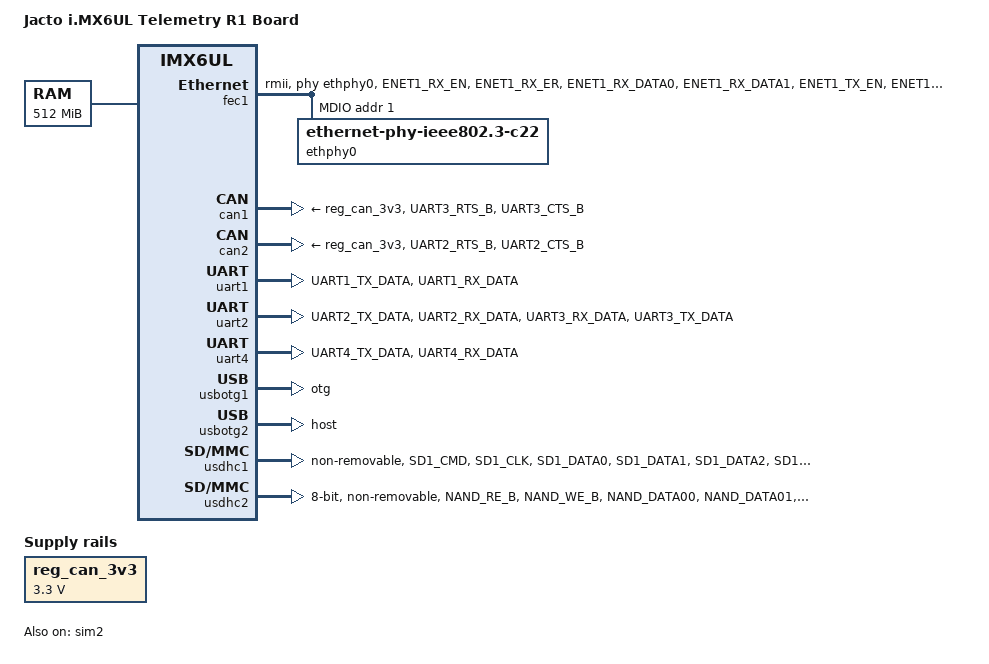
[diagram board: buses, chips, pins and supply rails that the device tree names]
// SPDX-License-Identifier: GPL-2.0
//
// Copyright (C) 2015 Freescale Semiconductor, Inc.

/dts-v1/;

#include "imx6ul.dtsi"

/ {

	model = "Jacto i.MX6UL Telemetry R1 Board";
	compatible = "jacto,imx6ul-telemetry-r1", "fsl,imx6ul";

	memory@80000000 {
		device_type = "memory";
		reg = <0x80000000 0x20000000>;
	};

	aliases {
		mmc0 = &usdhc2;
	};

	chosen {
		stdout-path = &uart1;
	};

	reg_can_3v3: regulator-can-3v3 {
		compatible = "regulator-fixed";
		regulator-name = "can-3v3";
		regulator-min-microvolt = <3300000>;
		regulator-max-microvolt = <3300000>;
	};
};

&fec1 {
	pinctrl-names = "default";
	pinctrl-0 = <&pinctrl_enet1>;
	phy-mode = "rmii";
	phy-handle = <&ethphy0>;
	phy-reset-gpios = <&gpio1 8 GPIO_ACTIVE_LOW>;
	phy-reset-duration = <20>;
	phy-reset-post-delay = <10>;
	status = "okay";

	mdio {
		#address-cells = <1>;
		#size-cells = <0>;

		ethphy0: ethernet-phy@1 {
			reg = <1>;
			compatible = "ethernet-phy-ieee802.3-c22";
		};
	};
};

&can1 {
	pinctrl-names = "default";
	pinctrl-0 = <&pinctrl_flexcan1>;
	xceiver-supply = <&reg_can_3v3>;
	status = "okay";
};

&can2 {
	pinctrl-names = "default";
	pinctrl-0 = <&pinctrl_flexcan2>;
	xceiver-supply = <&reg_can_3v3>;
	status = "okay";
};

&sim2 {
	pinctrl-names = "default";
	pinctrl-0 = <&pinctrl_sim2>;
	assigned-clocks = <&clks IMX6UL_CLK_SIM_SEL>;
	assigned-clock-parents = <&clks IMX6UL_CLK_SIM_PODF>;
	assigned-clock-rates = <240000000>;
	/*
	 * GPIO_ACTIVE_HIGH/LOW: SIM card voltage control
	 * NCN8025:Vcc = ACTIVE_HIGH?5V:3V
	 * TDA8035:Vcc = ACTIVE_HIGH?5V:1.8V
	 */
	pinctrl-assert-gpios = <&gpio4 23 GPIO_ACTIVE_HIGH>;
	port = <1>;
	sven_low_active;
	status = "okay";
};

&snvs_poweroff {
	status = "okay";
};

&uart1 {
	pinctrl-names = "default";
	pinctrl-0 = <&pinctrl_uart1>;
	status = "okay";
};

&uart2 {
	pinctrl-names = "default";
	pinctrl-0 = <&pinctrl_uart2>;
	uart-has-rtscts;
	status = "okay";
};

&uart4 {
	pinctrl-names = "default";
	pinctrl-0 = <&pinctrl_uart4>;
	status = "okay";
};

&usbotg1 {
	dr_mode = "otg";
	srp-disable;
	hnp-disable;
	adp-disable;
	status = "okay";
};

&usbotg2 {
	dr_mode = "host";
	disable-over-current;
	status = "okay";
};

&usbphy1 {
	fsl,tx-d-cal = <5>;
};

&usbphy2 {
	fsl,tx-d-cal = <5>;
};

&usdhc1 {
	pinctrl-names = "default", "state_100mhz", "state_200mhz";
	pinctrl-0 = <&pinctrl_usdhc1>;
	pinctrl-1 = <&pinctrl_usdhc1_100mhz>;
	pinctrl-2 = <&pinctrl_usdhc1_200mhz>;
	non-removable;
	keep-power-in-suspend;
	enable-sdio-wakeup;
	status = "okay";
};

&usdhc2 {
	pinctrl-names = "default";
	pinctrl-0 = <&pinctrl_usdhc2>;
	bus-width = <8>;
	no-1-8-v;
	keep-power-in-suspend;
	wakeup-source;
	non-removable;
	status = "okay";
};

&wdog1 {
	pinctrl-names = "default";
	pinctrl-0 = <&pinctrl_wdog>;
	fsl,ext-reset-output;
};

&iomuxc {
	pinctrl-names = "default";

	pinctrl_enet1: enet1grp {
		fsl,pins = <
			MX6UL_PAD_ENET1_RX_EN__ENET1_RX_EN	0x1b0b0
			MX6UL_PAD_ENET1_RX_ER__ENET1_RX_ER	0x1b0b0
			MX6UL_PAD_ENET1_RX_DATA0__ENET1_RDATA00	0x1b0b0
			MX6UL_PAD_ENET1_RX_DATA1__ENET1_RDATA01	0x1b0b0
			MX6UL_PAD_ENET1_TX_EN__ENET1_TX_EN	0x1b0b0
			MX6UL_PAD_ENET1_TX_DATA0__ENET1_TDATA00	0x1b0b0
			MX6UL_PAD_ENET1_TX_DATA1__ENET1_TDATA01	0x1b0b0
			MX6UL_PAD_ENET1_TX_CLK__ENET1_REF_CLK1	0x4001b031
			MX6UL_PAD_GPIO1_IO06__ENET1_MDIO        0x1b0b0
			MX6UL_PAD_GPIO1_IO07__ENET1_MDC         0x1b0b0
		>;
	};

	pinctrl_flexcan1: flexcan1grp{
		fsl,pins = <
			MX6UL_PAD_UART3_RTS_B__FLEXCAN1_RX	0x1b020
			MX6UL_PAD_UART3_CTS_B__FLEXCAN1_TX	0x1b020
		>;
	};

	pinctrl_flexcan2: flexcan2grp{
		fsl,pins = <
			MX6UL_PAD_UART2_RTS_B__FLEXCAN2_RX	0x1b020
			MX6UL_PAD_UART2_CTS_B__FLEXCAN2_TX	0x1b020
		>;
	};

	pinctrl_sim2: sim2grp {
		fsl,pins = <
			MX6UL_PAD_CSI_DATA03__SIM2_PORT1_PD	0xb808
			MX6UL_PAD_CSI_DATA04__SIM2_PORT1_CLK	0x11
			MX6UL_PAD_CSI_DATA05__SIM2_PORT1_RST_B	0xb810
			MX6UL_PAD_CSI_DATA06__SIM2_PORT1_SVEN	0xb810
			MX6UL_PAD_CSI_DATA07__SIM2_PORT1_TRXD	0xb811
			MX6UL_PAD_CSI_DATA02__GPIO4_IO23	0x3008
		>;
	};

	pinctrl_uart1: uart1grp {
		fsl,pins = <
			MX6UL_PAD_UART1_TX_DATA__UART1_DCE_TX	0x1b0b1
			MX6UL_PAD_UART1_RX_DATA__UART1_DCE_RX	0x1b0b1
		>;
	};

	pinctrl_uart2: uart2grp {
		fsl,pins = <
			MX6UL_PAD_UART2_TX_DATA__UART2_DCE_TX	0x1b0b1
			MX6UL_PAD_UART2_RX_DATA__UART2_DCE_RX	0x1b0b1
			MX6UL_PAD_UART3_RX_DATA__UART2_DCE_RTS	0x1b0b1
			MX6UL_PAD_UART3_TX_DATA__UART2_DCE_CTS	0x1b0b1
		>;
	};

	pinctrl_uart4: uart4grp {
		fsl,pins = <
			MX6UL_PAD_UART4_TX_DATA__UART4_DCE_TX	0x1b0b1
			MX6UL_PAD_UART4_RX_DATA__UART4_DCE_RX	0x1b0b1
		>;
	};

	pinctrl_usdhc1: usdhc1grp {
		fsl,pins = <
			MX6UL_PAD_SD1_CMD__USDHC1_CMD		0x17059
			MX6UL_PAD_SD1_CLK__USDHC1_CLK		0x10071
			MX6UL_PAD_SD1_DATA0__USDHC1_DATA0	0x17059
			MX6UL_PAD_SD1_DATA1__USDHC1_DATA1	0x17059
			MX6UL_PAD_SD1_DATA2__USDHC1_DATA2	0x17059
			MX6UL_PAD_SD1_DATA3__USDHC1_DATA3	0x17059
		>;
	};

	pinctrl_usdhc1_100mhz: usdhc1grp100mhz {
		fsl,pins = <
			MX6UL_PAD_SD1_CMD__USDHC1_CMD		0x170b9
			MX6UL_PAD_SD1_CLK__USDHC1_CLK		0x100b9
			MX6UL_PAD_SD1_DATA0__USDHC1_DATA0	0x170b9
			MX6UL_PAD_SD1_DATA1__USDHC1_DATA1	0x170b9
			MX6UL_PAD_SD1_DATA2__USDHC1_DATA2	0x170b9
			MX6UL_PAD_SD1_DATA3__USDHC1_DATA3	0x170b9
		>;
	};

	pinctrl_usdhc1_200mhz: usdhc1grp200mhz {
		fsl,pins = <
			MX6UL_PAD_SD1_CMD__USDHC1_CMD		0x170f9
			MX6UL_PAD_SD1_CLK__USDHC1_CLK		0x100f9
			MX6UL_PAD_SD1_DATA0__USDHC1_DATA0	0x170f9
			MX6UL_PAD_SD1_DATA1__USDHC1_DATA1	0x170f9
			MX6UL_PAD_SD1_DATA2__USDHC1_DATA2	0x170f9
			MX6UL_PAD_SD1_DATA3__USDHC1_DATA3	0x170f9
		>;
	};

	pinctrl_usdhc2: usdhc2grp {
		fsl,pins = <
			MX6UL_PAD_NAND_RE_B__USDHC2_CLK		0x17059
			MX6UL_PAD_NAND_WE_B__USDHC2_CMD		0x17059
			MX6UL_PAD_NAND_DATA00__USDHC2_DATA0	0x17059
			MX6UL_PAD_NAND_DATA01__USDHC2_DATA1	0x17059
			MX6UL_PAD_NAND_DATA02__USDHC2_DATA2	0x17059
			MX6UL_PAD_NAND_DATA03__USDHC2_DATA3	0x17059
			MX6UL_PAD_NAND_DATA04__USDHC2_DATA4	0x17059
			MX6UL_PAD_NAND_DATA05__USDHC2_DATA5	0x17059
			MX6UL_PAD_NAND_DATA06__USDHC2_DATA6	0x17059
			MX6UL_PAD_NAND_DATA07__USDHC2_DATA7	0x17059
		>;
	};

	pinctrl_wdog: wdoggrp {
		fsl,pins = <
			MX6UL_PAD_LCD_RESET__WDOG1_WDOG_ANY    0x30b0
		>;
	};
};
